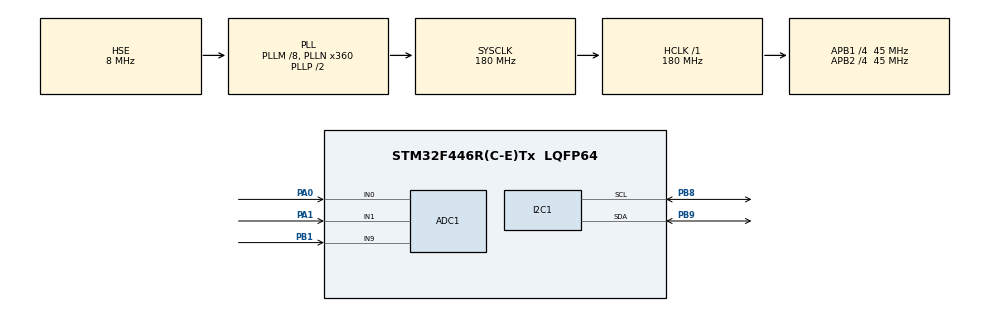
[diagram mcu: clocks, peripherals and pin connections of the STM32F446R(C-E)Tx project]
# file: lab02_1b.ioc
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ADC1.Channel-11\#ChannelRegularConversion=ADC_CHANNEL_0
ADC1.NbrOfConversion=1
ADC1.NbrOfConversionFlag=1
ADC1.Rank-11\#ChannelRegularConversion=1
ADC1.SamplingTime-11\#ChannelRegularConversion=ADC_SAMPLETIME_3CYCLES
ADC1.master=1
I2C1.I2C_Mode=I2C_Fast
Mcu.Family=STM32F4
Mcu.Name=STM32F446R(C-E)Tx
Mcu.Package=LQFP64
NVIC.PriorityGroup=NVIC_PRIORITYGROUP_4
PA0-WKUP.Signal=ADCx_IN0
PA1.Signal=ADCx_IN1
PA13.Mode=Serial_Wire
PA13.Signal=SYS_JTMS-SWDIO
PA14.Mode=Serial_Wire
PA14.Signal=SYS_JTCK-SWCLK
PB1.Signal=ADCx_IN9
PB8.Mode=I2C
PB8.Signal=I2C1_SCL
PB9.Mode=I2C
PB9.Signal=I2C1_SDA
PH0-OSC_IN.Mode=HSE-External-Oscillator
PH0-OSC_IN.Signal=RCC_OSC_IN
PH1-OSC_OUT.Mode=HSE-External-Oscillator
PH1-OSC_OUT.Signal=RCC_OSC_OUT
ProjectManager.HeapSize=0x200
ProjectManager.StackSize=0x400
ProjectManager.TargetToolchain=STM32CubeIDE
RCC.AHBFreq_Value=180000000
RCC.APB1CLKDivider=RCC_HCLK_DIV4
RCC.APB1Freq_Value=45000000
RCC.APB1TimFreq_Value=90000000
RCC.APB2CLKDivider=RCC_HCLK_DIV4
RCC.APB2Freq_Value=45000000
RCC.APB2TimFreq_Value=90000000
RCC.CortexFreq_Value=180000000
RCC.HCLKFreq_Value=180000000
RCC.HSE_VALUE=8000000
RCC.PLLM=8
RCC.PLLN=360
RCC.PLLSourceVirtual=RCC_PLLSOURCE_HSE
RCC.SYSCLKFreq_VALUE=180000000
RCC.SYSCLKSource=RCC_SYSCLKSOURCE_PLLCLK
RCC.USBFreq_Value=180000000
RCC.VCOOutputFreq_Value=360000000
SH.ADCx_IN0.0=ADC1_IN0,IN0
SH.ADCx_IN1.0=ADC1_IN1,IN1
SH.ADCx_IN9.0=ADC1_IN9,IN9
board=custom

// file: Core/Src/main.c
/* USER CODE BEGIN Header */
/**
  ******************************************************************************
  * @file           : main.c
  * @brief          : Main program body
  ******************************************************************************
  * @attention
  *
  * Copyright (c) 2026 STMicroelectronics.
  * All rights reserved.
  *
  * This software is licensed under terms that can be found in the LICENSE file
  * in the root directory of this software component.
  * If no LICENSE file comes with this software, it is provided AS-IS.
  *
  ******************************************************************************
  */
/* USER CODE END Header */
#include "main.h"

/* USER CODE BEGIN Includes */
#include <stdio.h>
#include <string.h>
#include "ssd1306.h"
/* USER CODE END Includes */

ADC_HandleTypeDef hadc1;

I2C_HandleTypeDef hi2c1;

void SystemClock_Config(void);
static void MX_GPIO_Init(void);
static void MX_ADC1_Init(void);
static void MX_I2C1_Init(void);

/* USER CODE BEGIN 0 */
void setADCChannel(ADC_HandleTypeDef *hadc, uint32_t chan){
	ADC_ChannelConfTypeDef sConfig = {0};

	sConfig.Channel = chan;
	sConfig.Rank = 1;
	sConfig.SamplingTime = ADC_SAMPLETIME_3CYCLES;
	if (HAL_ADC_ConfigChannel(&hadc1, &sConfig) != HAL_OK){
		Error_Handler();
	}
}
/* USER CODE END 0 */

int main(void)
{

  /* USER CODE BEGIN 1 */
	uint16_t axisX,axisY,ldr;
	char msg[32];
  /* USER CODE END 1 */

  /* MCU Configuration--------------------------------------------------------*/

  /* Reset of all peripherals, Initializes the Flash interface and the Systick. */
  HAL_Init();

  /* Configure the system clock */
  SystemClock_Config();

  /* Initialize all configured peripherals */
  MX_GPIO_Init();
  MX_ADC1_Init();
  MX_I2C1_Init();
  /* USER CODE BEGIN 2 */
  ssd1306_Init();
  /* USER CODE END 2 */

  /* Infinite loop */
  /* USER CODE BEGIN WHILE */
  while (1)
  {
    setADCChannel(&hadc1,ADC_CHANNEL_0);
    HAL_ADC_Start(&hadc1);
	HAL_ADC_PollForConversion(&hadc1, HAL_MAX_DELAY);
	axisX = HAL_ADC_GetValue(&hadc1);

    setADCChannel(&hadc1,ADC_CHANNEL_1);
    HAL_ADC_Start(&hadc1);
	HAL_ADC_PollForConversion(&hadc1, HAL_MAX_DELAY);
	axisY = HAL_ADC_GetValue(&hadc1);

    setADCChannel(&hadc1,ADC_CHANNEL_9);
    HAL_ADC_Start(&hadc1);
	HAL_ADC_PollForConversion(&hadc1, HAL_MAX_DELAY);
	ldr = HAL_ADC_GetValue(&hadc1);

	ssd1306_Fill(Black);
	ssd1306_SetCursor(0,0);
	sprintf(msg,"  X:%5d (%.4X)",axisX,axisX);
	ssd1306_WriteString(msg,Font_7x10,White);
	ssd1306_SetCursor(0,10);
	sprintf(msg,"  Y:%5d (%.4X)",axisY,axisY);
	ssd1306_WriteString(msg,Font_7x10,White);
	ssd1306_SetCursor(0,20);
	sprintf(msg,"LDR:%5d (%.4X)",ldr,ldr);
	ssd1306_WriteString(msg,Font_7x10,White);
	ssd1306_UpdateScreen();
	HAL_Delay(100);
    /* USER CODE END WHILE */

  }
}

void SystemClock_Config(void)
{
  RCC_OscInitTypeDef RCC_OscInitStruct = {0};
  RCC_ClkInitTypeDef RCC_ClkInitStruct = {0};

  /** Configure the main internal regulator output voltage
  */
  __HAL_RCC_PWR_CLK_ENABLE();
  __HAL_PWR_VOLTAGESCALING_CONFIG(PWR_REGULATOR_VOLTAGE_SCALE1);

  /** Initializes the RCC Oscillators according to the specified parameters
  * in the RCC_OscInitTypeDef structure.
  */
  RCC_OscInitStruct.OscillatorType = RCC_OSCILLATORTYPE_HSE;
  RCC_OscInitStruct.HSEState = RCC_HSE_ON;
  RCC_OscInitStruct.PLL.PLLState = RCC_PLL_ON;
  RCC_OscInitStruct.PLL.PLLSource = RCC_PLLSOURCE_HSE;
  RCC_OscInitStruct.PLL.PLLM = 8;
  RCC_OscInitStruct.PLL.PLLN = 360;
  RCC_OscInitStruct.PLL.PLLP = RCC_PLLP_DIV2;
  RCC_OscInitStruct.PLL.PLLQ = 2;
  RCC_OscInitStruct.PLL.PLLR = 2;
  if (HAL_RCC_OscConfig(&RCC_OscInitStruct) != HAL_OK)
  {
    Error_Handler();
  }

  /** Activate the Over-Drive mode
  */
  if (HAL_PWREx_EnableOverDrive() != HAL_OK)
  {
    Error_Handler();
  }

  /** Initializes the CPU, AHB and APB buses clocks
  */
  RCC_ClkInitStruct.ClockType = RCC_CLOCKTYPE_HCLK|RCC_CLOCKTYPE_SYSCLK
                              |RCC_CLOCKTYPE_PCLK1|RCC_CLOCKTYPE_PCLK2;
  RCC_ClkInitStruct.SYSCLKSource = RCC_SYSCLKSOURCE_PLLCLK;
  RCC_ClkInitStruct.AHBCLKDivider = RCC_SYSCLK_DIV1;
  RCC_ClkInitStruct.APB1CLKDivider = RCC_HCLK_DIV4;
  RCC_ClkInitStruct.APB2CLKDivider = RCC_HCLK_DIV4;

  if (HAL_RCC_ClockConfig(&RCC_ClkInitStruct, FLASH_LATENCY_5) != HAL_OK)
  {
    Error_Handler();
  }
}

static void MX_ADC1_Init(void)
{

  ADC_ChannelConfTypeDef sConfig = {0};

  /** Configure the global features of the ADC (Clock, Resolution, Data Alignment and number of conversion)
  */
  hadc1.Instance = ADC1;
  hadc1.Init.ClockPrescaler = ADC_CLOCK_SYNC_PCLK_DIV2;
  hadc1.Init.Resolution = ADC_RESOLUTION_12B;
  hadc1.Init.ScanConvMode = DISABLE;
  hadc1.Init.ContinuousConvMode = DISABLE;
  hadc1.Init.DiscontinuousConvMode = DISABLE;
  hadc1.Init.ExternalTrigConvEdge = ADC_EXTERNALTRIGCONVEDGE_NONE;
  hadc1.Init.ExternalTrigConv = ADC_SOFTWARE_START;
  hadc1.Init.DataAlign = ADC_DATAALIGN_RIGHT;
  hadc1.Init.NbrOfConversion = 1;
  hadc1.Init.DMAContinuousRequests = DISABLE;
  hadc1.Init.EOCSelection = ADC_EOC_SINGLE_CONV;
  if (HAL_ADC_Init(&hadc1) != HAL_OK)
  {
    Error_Handler();
  }

  /** Configure for the selected ADC regular channel its corresponding rank in the sequencer and its sample time.
  */
  sConfig.Channel = ADC_CHANNEL_0;
  sConfig.Rank = 1;
  sConfig.SamplingTime = ADC_SAMPLETIME_3CYCLES;
  if (HAL_ADC_ConfigChannel(&hadc1, &sConfig) != HAL_OK)
  {
    Error_Handler();
  }

}

static void MX_I2C1_Init(void)
{

  hi2c1.Instance = I2C1;
  hi2c1.Init.ClockSpeed = 400000;
  hi2c1.Init.DutyCycle = I2C_DUTYCYCLE_2;
  hi2c1.Init.OwnAddress1 = 0;
  hi2c1.Init.AddressingMode = I2C_ADDRESSINGMODE_7BIT;
  hi2c1.Init.DualAddressMode = I2C_DUALADDRESS_DISABLE;
  hi2c1.Init.OwnAddress2 = 0;
  hi2c1.Init.GeneralCallMode = I2C_GENERALCALL_DISABLE;
  hi2c1.Init.NoStretchMode = I2C_NOSTRETCH_DISABLE;
  if (HAL_I2C_Init(&hi2c1) != HAL_OK)
  {
    Error_Handler();
  }

}

static void MX_GPIO_Init(void)
{

  /* GPIO Ports Clock Enable */
  __HAL_RCC_GPIOH_CLK_ENABLE();
  __HAL_RCC_GPIOA_CLK_ENABLE();
  __HAL_RCC_GPIOB_CLK_ENABLE();

}

void Error_Handler(void)
{
  __disable_irq();
  while (1)
  {
  }
}
